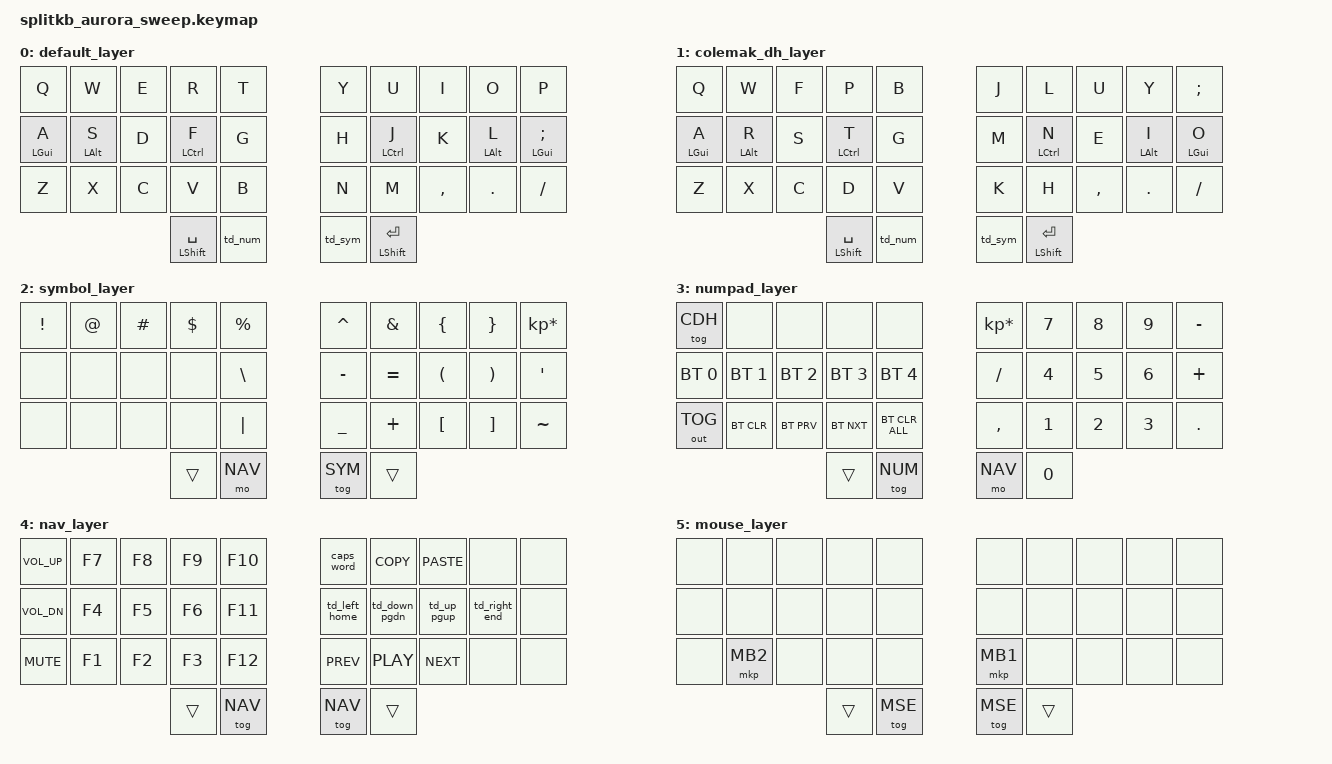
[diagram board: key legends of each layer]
/*
 * Copyright (c) 2020 The ZMK Contributors
 *
 * SPDX-License-Identifier: MIT
 */

#include <behaviors.dtsi>
#include <dt-bindings/zmk/keys.h>
#include <dt-bindings/zmk/bt.h>
#include <dt-bindings/zmk/outputs.h>
#include <dt-bindings/zmk/mouse.h>


#define QWE 0
#define CDH 1
#define SYM 2
#define NUM 3
#define NAV 4
#define MSE 5

/ {
        behaviors {
                mts: momentary_sticky {
                    compatible = "zmk,behavior-hold-tap";
                    #binding-cells = <2>;
                    flavor = "hold-preferred";
                    tapping-term-ms = <15>;
                    bindings = <&mo>, <&sl>;
                };

                td_num: tap_dance_num {
                    compatible = "zmk,behavior-tap-dance";
                    #binding-cells = <0>;
                    tapping-term-ms = <150>;
                    bindings = <&mts NUM NUM>, <&tog NUM>, <&tog NUM>, <&tog MSE>;
                };

                td_sym: tap_dance_sym {
                    compatible = "zmk,behavior-tap-dance";
                    #binding-cells = <0>;
                    tapping-term-ms = <150>;
                    bindings = <&mts SYM SYM>, <&tog SYM>, <&tog SYM>, <&tog MSE>;
                };
                
                hm: homerow_mod{
                    compatible = "zmk,behavior-hold-tap";
                    #binding-cells = <2>;
                    tapping-term-ms = <150>;
                    quick-tap-ms = <75>;
                    require-prior-idle-ms = <0>;
                    flavor = "tap-preferred";
                    bindings = <&kp>, <&kp>;
                };
                td_esc_caps: tap_dance_esc_caps {
                    compatible = "zmk,behavior-tap-dance";
                    #binding-cells = <0>;
                    tapping-term-ms = <150>;
                    bindings = <&kp ESC>, <&kp CAPS>;
                };
                td_left_home: tap_dance_left_home {
                    compatible = "zmk,behavior-tap-dance";
                    #binding-cells = <0>;
                    tapping-term-ms = <150>;
                    bindings = <&kp LEFT>, <&kp HOME>;
                };
                td_down_pgdn: tap_dance_down_pagedown {
                    compatible = "zmk,behavior-tap-dance";
                    #binding-cells = <0>;
                    tapping-term-ms = <150>;
                    bindings = <&kp DOWN>, <&kp PG_DN>;
                };
                td_up_pgup: tap_dance_up_pageup {
                    compatible = "zmk,behavior-tap-dance";
                    #binding-cells = <0>;
                    tapping-term-ms = <150>;
                    bindings = <&kp UP>, <&kp PG_UP>;
                };
                td_right_end: tap_dance_right_end {
                    compatible = "zmk,behavior-tap-dance";
                    #binding-cells = <0>;
                    tapping-term-ms = <150>;
                    bindings = <&kp RIGHT>, <&kp END>;
                };
                mm_bspc_del: backspace_delete {
                    compatible = "zmk,behavior-mod-morph";
                    #binding-cells = <0>;
                    bindings = <&kp BACKSPACE>, <&kp DELETE>;
                    mods = <(MOD_LSFT|MOD_RSFT)>;
                };
                mm_swe_a_circ: modmorph_swe_a_circ {
                    compatible = "zmk,behavior-mod-morph";
                    #binding-cells = <0>;
                    bindings = <&swe_a_circ>, <&swe_shift_a_circ>;
                    mods = <(MOD_LSFT | MOD_RSFT)>;
                };
                mm_swe_a_dia: modmorph_swe_a_dia {
                    compatible = "zmk,behavior-mod-morph";
                    #binding-cells = <0>;
                    bindings = <&swe_a_dia>, <&swe_shift_a_dia>;
                    mods = <(MOD_LSFT | MOD_RSFT)>;
                };
                mm_swe_o_dia: modmorph_swe_o_dia {
                    compatible = "zmk,behavior-mod-morph";
                    /* label = "MODMORP_O_DIA"; */
                    #binding-cells = <0>;
                    bindings = <&swe_o_dia>, <&swe_shift_o_dia>;
                    mods = <(MOD_LSFT | MOD_RSFT)>;
                };
        };
        macros {
                swe_a_circ: swe_a_circ {
                    wait-ms = <5>;
                    tap-ms = <5>;
                    compatible = "zmk,behavior-macro";
                    #binding-cells = <0>;
                    bindings
                            = <&macro_tap &kp LC(LS(U))>
                            , <&macro_tap &kp E &kp KP_N5 &kp SPACE>
                            ;
                };
                swe_shift_a_circ: swe_shift_a_circ {
                    wait-ms = <5>;
                    tap-ms = <5>;
                    compatible = "zmk,behavior-macro";
                    #binding-cells = <0>;
                    bindings
                            = <&macro_tap &kp LC(LS(U))>
                            , <&macro_tap &kp C &kp KP_N5 &kp SPACE>
                            ;
                };
                swe_a_dia: swe_a_dia {
                    wait-ms = <5>;
                    tap-ms = <5>;
                    compatible = "zmk,behavior-macro";
                    #binding-cells = <0>;
                    bindings
                            = <&macro_tap &kp LC(LS(U))>
                            , <&macro_tap &kp E &kp KP_N4 &kp SPACE>
                            ;
                };
                swe_shift_a_dia: swe_shift_a_dia {
                    wait-ms = <5>;
                    tap-ms = <5>;
                    compatible = "zmk,behavior-macro";
                    #binding-cells = <0>;
                    bindings
                            = <&macro_tap &kp LC(LS(U))>
                            , <&macro_tap &kp C &kp KP_N4 &kp SPACE>
                            ;
                };
                swe_o_dia: swe_o_dia {
                    wait-ms = <5>;
                    tap-ms = <5>;
                    compatible = "zmk,behavior-macro";
                    #binding-cells = <0>;
                    bindings
                            = <&macro_tap &kp LC(LS(U))>
                            , <&macro_tap &kp F &kp KP_N6 &kp SPACE>
                            ;
                };
                swe_shift_o_dia: swe_shift_o_dia {
                    wait-ms = <5>;
                    tap-ms = <5>;
                    compatible = "zmk,behavior-macro";
                    #binding-cells = <0>;
                    bindings
                            = <&macro_tap &kp LC(LS(U))>
                            , <&macro_tap &kp D &kp KP_N6 &kp SPACE>
                            ;
                };
        };
        combos {
                compatible = "zmk,combos";
                combo_esc {
                        timeout-ms = <30>;
                        key-positions = <11 12>;
                        bindings = <&td_esc_caps>;
                };
                combo_tab {
                        timeout-ms = <30>;
                        key-positions = <1 2>;
                        bindings = <&kp TAB>;
                };
                combo_shift_tab {
                        timeout-ms = <30>;
                        key-positions = <2 3>;
                        bindings = <&kp LS(TAB)>;
                };
                combo_backspace {
                        timeout-ms = <30>;
                        key-positions = <6 7>;
                        bindings = <&mm_bspc_del>;
                };
                combo_enter {
                        timeout-ms = <30>;
                        key-positions = <16 17>;
                        bindings = <&kp RET>;
                };
                combo_swe_a_circ {
                        timeout-ms = <30>;
                        key-positions = <7 8>;
                        bindings = <&mm_swe_a_circ>;
                };
                combo_swe_a_dia {
                        timeout-ms = <30>;
                        key-positions = <17 18>;
                        bindings = <&mm_swe_a_dia>;
                };
                combo_swe_o_dia {
                        timeout-ms = <30>;
                        key-positions = <18 19>;
                        bindings = <&mm_swe_o_dia>;
                };
        };
        keymap {
                compatible = "zmk,keymap";

                default_layer {
                                                bindings = <
                           &kp Q      &kp W      &kp E &kp R       &kp T                                     &kp Y   &kp U        &kp I      &kp O      &kp P        
                           &hm LGUI A &hm LALT S &kp D &hm LCTRL F &kp G                                     &kp H   &hm LCTRL J  &kp K      &hm LALT L &hm LGUI SEMI
                           &kp Z      &kp X      &kp C &kp V       &kp B                                     &kp N   &kp M        &kp COMMA  &kp DOT    &kp FSLH     
                                                                   &hm LSHFT SPACE &td_num          &td_sym  &hm LSHFT RET
                                                >;
                };

                colemak_dh_layer {
                                                bindings = <
                           &kp Q      &kp W      &kp F &kp P       &kp B                                     &kp J   &kp L        &kp U      &kp Y      &kp SEMI        
                           &hm LGUI A &hm LALT R &kp S &hm LCTRL T &kp G                                     &kp M   &hm LCTRL N  &kp E      &hm LALT I &hm LGUI O
                           &kp Z      &kp X      &kp C &kp D       &kp V                                     &kp K   &kp H        &kp COMMA  &kp DOT    &kp FSLH     
                                                                   &hm LSHFT SPACE &td_num          &td_sym  &hm LSHFT RET
                                                >;
                };

                symbol_layer {
                                                bindings = <
                           &kp EXCL &kp AT &kp HASH &kp DLLR &kp PRCNT                     &kp CARET &kp AMPS  &kp LBRC &kp RBRC &kp KP_MULTIPLY
                           &none    &none  &none    &none    &kp BSLH                      &kp MINUS &kp EQUAL &kp LPAR &kp RPAR &kp SQT        
                           &none    &none  &none    &none    &kp PIPE                      &kp UNDER &kp PLUS  &kp LBKT &kp RBKT &kp TILDE      
                                                             &trans     &mo NAV  &tog SYM   &trans
                                                >;
                };

                numpad_layer {
                                                bindings = <
                           &tog CDH     &none        &none        &none        &none                           &kp KP_MULTIPLY  &kp N7  &kp N8 &kp N9 &kp MINUS
                           &bt BT_SEL 0 &bt BT_SEL 1 &bt BT_SEL 2 &bt BT_SEL 3 &bt BT_SEL 4                    &kp FSLH         &kp N4  &kp N5 &kp N6 &kp PLUS 
                           &out OUT_TOG &bt BT_CLR   &bt BT_PRV   &bt BT_NXT   &bt BT_CLR_ALL                  &kp COMMA        &kp N1  &kp N2 &kp N3 &kp DOT
                                                                               &trans       &tog NUM  &mo NAV  &kp N0
                                                >;
                };

                nav_layer {
                                               bindings = <
                           &kp C_VOL_UP  &kp F7 &kp F8 &kp F9 &kp F10                    &caps_word    &kp K_COPY    &kp K_PASTE &none         &none
                           &kp C_VOL_DN  &kp F4 &kp F5 &kp F6 &kp F11                    &td_left_home &td_down_pgdn &td_up_pgup &td_right_end &none
                           &kp C_MUTE    &kp F1 &kp F2 &kp F3 &kp F12                    &kp C_PREV    &kp C_PLAY    &kp C_NEXT  &none         &none
                                                       &trans &tog NAV &tog NAV &trans
                                                >;
                };
                mouse_layer {
                                               bindings = <
                           &none  &none    &none &none &none                    &none    &none &none &none &none
                           &none  &none    &none &none &none                    &none    &none &none &none &none
                           &none  &mkp MB2 &none &none &none                    &mkp MB1 &none &none &none &none
                                                       &trans &tog MSE &tog MSE &trans
                                                >;
                };
        };
};
